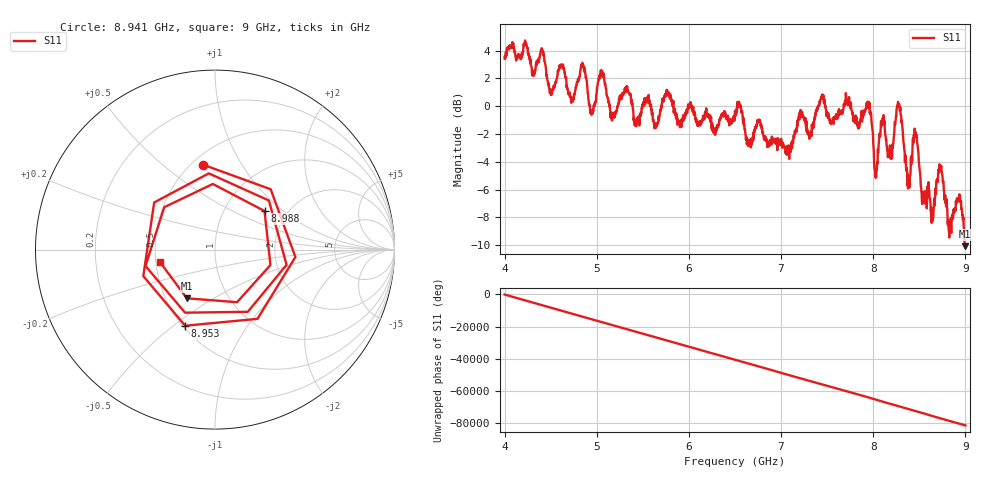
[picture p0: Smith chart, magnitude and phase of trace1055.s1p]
! Created with skrf 1.8.0 (http://scikit-rf.org).
# Hz S RI R 50.0
!freq ReS11 ImS11
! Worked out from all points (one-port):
!   1601 points, 4 GHz to 9 GHz, reference 50 ohm
!   lowest |S11| = -10.1 dB at 8.997 GHz (marker M1), VSWR 1.91, Z = 31.9 - j19.2 ohm
!   |S11| at or under -10 dB: 8.995111 GHz to end of sweep
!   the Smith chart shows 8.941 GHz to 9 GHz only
!   S11 on the Smith chart (normalised r, x): 8.941 GHz: 0.57, +0.70; 8.953 GHz: 0.51, -0.55; 8.988 GHz: 1.54, +0.75; 9 GHz: 0.53, -0.08
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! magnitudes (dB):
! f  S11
! 4 GHz  3.4
! 4.406 GHz  4.1
! 4.506 GHz  0.8
! 4.625 GHz  3.0
! 4.734 GHz  0.6
! 4.853 GHz  2.9
! 4.941 GHz  -0.3
! 5.053 GHz  2.6
! 5.169 GHz  -1.0
! 5.25 GHz  0.7
! 5.875 GHz  -1.3
! 6.5 GHz  -0.3
! 7.125 GHz  -2.5
! 7.75 GHz  0.2
! 7.953 GHz  0.3
! 8.031 GHz  -5.1
! 8.278 GHz  0.0
! 8.375 GHz  -4.9
! 8.453 GHz  -1.9
! 8.547 GHz  -6.4
! 8.644 GHz  -7.7
! 8.728 GHz  -4.4
! 8.828 GHz  -8.4
! 8.941 GHz  -6.4
! 8.953 GHz  -6.8
! 8.988 GHz  -9.1
! 8.997 GHz  -10.1
! 9 GHz  -10.1
